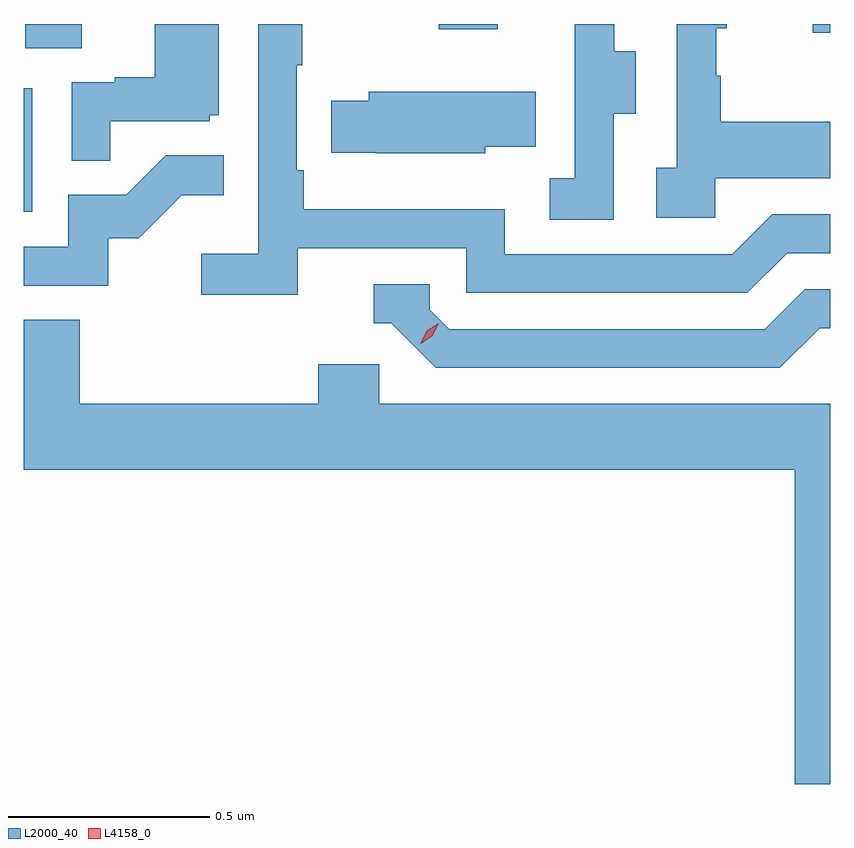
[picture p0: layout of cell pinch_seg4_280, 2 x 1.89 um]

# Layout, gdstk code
import gdstk
lib = gdstk.Library(unit=1e-6, precision=1e-09)
def R(c, l, rs):  # rectangles x0, y0, x1, y1
    for r in rs: c.add(gdstk.rectangle(r[:2], r[2:], *l))
def P(c, l, *ps):  # polygons
    for p in ps: c.add(gdstk.Polygon(p, *l))
L2000_40 = (2000, 40)
L4158_0 = (4158, 0)

pinch_seg4_280 = lib.new_cell('pinch_seg4_280')
R(pinch_seg4_280, L2000_40, [(940.021,826.764,940.042,827.071), (940.025,827.17,940.165,827.23), (941.978,827.208,942.021,827.23), (941.05,827.217,941.197,827.23)])
P(pinch_seg4_280, L2000_40, [(940.7,826.674),(941.118,826.674),(941.118,826.563),(941.815,826.563),(941.914,826.662),(942.021,826.662),(942.021,826.758),(941.877,826.758),(941.778,826.659),(941.214,826.659),(941.214,826.771),(940.715,826.771),(940.715,826.867),(940.698,826.867),(940.698,827.128),(940.711,827.128),(940.711,827.23),(940.602,827.23),(940.602,826.66),(940.461,826.66),(940.461,826.558),(940.7,826.558)],
  [(941.736,826.847),(942.021,826.847),(942.021,826.987),(941.749,826.987),(941.749,827.102),(941.739,827.102),(941.739,827.22),(941.764,827.22),(941.764,827.23),(941.64,827.23),(941.64,826.874),(941.589,826.874),(941.589,826.749),(941.736,826.749)],
  [(940.235,826.989),(940.482,826.989),(940.482,827.004),(940.504,827.004),(940.504,827.23),(940.346,827.23),(940.346,827.098),(940.247,827.098),(940.247,827.085),(940.14,827.085),(940.14,826.891),(940.235,826.891)],
  [(941.484,827.008),(941.539,827.008),(941.539,827.163),(941.485,827.163),(941.485,827.23),(941.387,827.23),(941.387,827.151),(941.388,827.151),(941.388,826.847),(941.325,826.847),(941.325,826.744),(941.484,826.744)],
  [(941.166,826.925),(941.291,826.925),(941.291,827.062),(940.877,827.062),(940.877,827.04),(940.783,827.04),(940.783,826.911),(940.894,826.911),(940.894,826.91),(941.166,826.91)],
  [(940.23,826.698),(940.306,826.698),(940.413,826.805),(940.517,826.805),(940.517,826.904),(940.373,826.904),(940.275,826.806),(940.131,826.806),(940.131,826.677),(940.021,826.677),(940.021,826.581),(940.23,826.581)],
  [(941.995,826.476),(942.021,826.476),(942.021,826.572),(941.958,826.572),(941.859,826.473),(941.076,826.473),(941.028,826.521),(941.028,826.584),(940.889,826.584),(940.889,826.488),(940.932,826.488),(941.043,826.377),(941.896,826.377)],
  [(942.021,826.288),(940.902,826.288),(940.902,826.386),(940.751,826.386),(940.751,826.288),(940.16,826.288),(940.16,826.496),(940.021,826.496),(940.021,826.124),(941.933,826.124),(941.933,825.345),(942.021,825.345)])
P(pinch_seg4_280, L4158_0, [(941.004,826.436),(941.004,826.436),(941.02,826.469),(941.05,826.488),(941.05,826.488),(941.05,826.488),(941.034,826.455),(941.004,826.436)])

lib.write_gds('pinch_seg4_280.gds')
